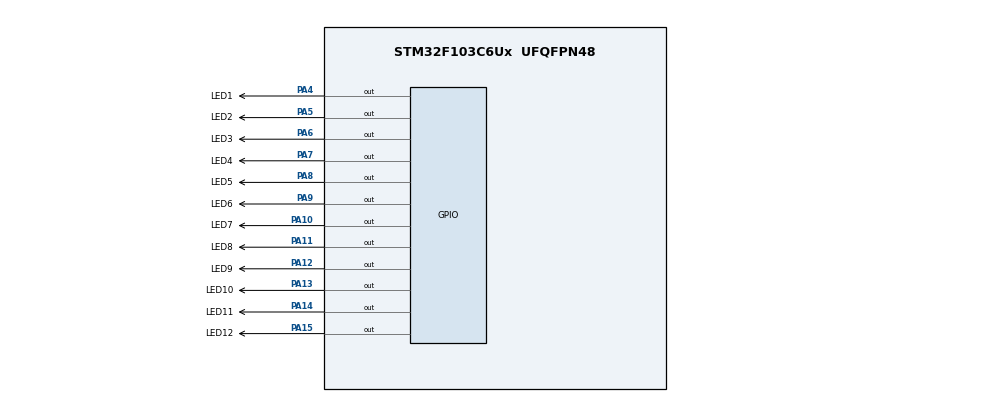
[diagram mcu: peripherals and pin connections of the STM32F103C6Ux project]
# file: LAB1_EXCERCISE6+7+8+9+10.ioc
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Mcu.Family=STM32F1
Mcu.Name=STM32F103C6Ux
Mcu.Package=UFQFPN48
NVIC.PriorityGroup=NVIC_PRIORITYGROUP_4
PA10.GPIO_Label=LED7
PA10.Signal=GPIO_Output
PA11.GPIO_Label=LED8
PA11.Signal=GPIO_Output
PA12.GPIO_Label=LED9
PA12.Signal=GPIO_Output
PA13.GPIO_Label=LED10
PA13.Signal=GPIO_Output
PA14.GPIO_Label=LED11
PA14.Signal=GPIO_Output
PA15.GPIO_Label=LED12
PA15.Signal=GPIO_Output
PA4.GPIO_Label=LED1
PA4.Signal=GPIO_Output
PA5.GPIO_Label=LED2
PA5.Signal=GPIO_Output
PA6.GPIO_Label=LED3
PA6.Signal=GPIO_Output
PA7.GPIO_Label=LED4
PA7.Signal=GPIO_Output
PA8.GPIO_Label=LED5
PA8.Signal=GPIO_Output
PA9.GPIO_Label=LED6
PA9.Signal=GPIO_Output
ProjectManager.HeapSize=0x200
ProjectManager.StackSize=0x400
ProjectManager.TargetToolchain=STM32CubeIDE
RCC.APB1Freq_Value=8000000
RCC.APB2Freq_Value=8000000
VP_SYS_VS_ND.Mode=No_Debug
board=custom

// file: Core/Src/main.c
/* USER CODE BEGIN Header */
/**
  ******************************************************************************
  * @file           : main.c
  * @brief          : Main program body
  ******************************************************************************
  * @attention
  *
  * <h2><center>&copy; Copyright (c) 2025 STMicroelectronics.
  * All rights reserved.</center></h2>
  *
  * This software component is licensed by ST under BSD 3-Clause license,
  * the "License"; You may not use this file except in compliance with the
  * License. You may obtain a copy of the License at:
  *                        opensource.org/licenses/BSD-3-Clause
  *
  ******************************************************************************
  */
/* USER CODE END Header */
#include "main.h"

void SystemClock_Config(void);
static void MX_GPIO_Init(void);

int main(void)
{

  /* MCU Configuration--------------------------------------------------------*/

  /* Reset of all peripherals, Initializes the Flash interface and the Systick. */
  HAL_Init();

  /* Configure the system clock */
  SystemClock_Config();

  /* Initialize all configured peripherals */
  MX_GPIO_Init();

  /* Infinite loop */
  /* USER CODE BEGIN WHILE */

  uint16_t 	LEDPIN[12] = {LED12_Pin, LED1_Pin,LED2_Pin,LED3_Pin,LED4_Pin ,LED5_Pin,LED6_Pin,LED7_Pin,LED8_Pin
          ,LED9_Pin,LED10_Pin,LED11_Pin};

  void TURN_ON_ALL(){
	  for (int j=0; j<12; ++j){
		  HAL_GPIO_WritePin(GPIOA, LEDPIN[j], GPIO_PIN_RESET);
	  }
  };
  void TURN_OFF_ALL(){
	  for (int j=0; j<12; ++j){
		  HAL_GPIO_WritePin(GPIOA, LEDPIN[j], GPIO_PIN_SET);
	  }
  };
  void LED_ON(int i){
	  HAL_GPIO_WritePin(GPIOA, LEDPIN[i], GPIO_PIN_RESET);
  }

  // EXCERCISE 6
  int counter_for_test = 0;
  void test_LED(int i){
	  TURN_OFF_ALL();
	  if (i>=12) i-=12;
	  LED_ON(i);
  }

  // EXCERCISE 7
  void clearAllclock(){
	  for (int j=0; j<12; ++j){
		  HAL_GPIO_WritePin(GPIOA, LEDPIN[j], GPIO_PIN_SET);
	  }
  }
  // EXCERCISE 8
  void setNumberOnClock(int num){
	  HAL_GPIO_WritePin(GPIOA, LEDPIN[num], GPIO_PIN_RESET);
  }
  // EXCERCISE 9
  void clearNumberOnClock(int num){
	  HAL_GPIO_WritePin(GPIOA, LEDPIN[num], GPIO_PIN_SET);
  }

  //EXCERCISE 10
  int second_display = 0;
  int minute_display = 0;
  int hour_display = 0;
  void second(int i){
	  int x=i/5; // Mỗi 5s kim giây di chuyển 1 lần
	  LED_ON(x);
  }
  void minute(int i){
	  int x=i/300; // Mỗi 5p kim phút di chuyển 1 lần
	  LED_ON(x);
  }
  void hour(int i){
	  LED_ON(i);
  }
  void tang_counter(){
	  TURN_OFF_ALL();

	  if (second_display >= 60) second_display -=60;
	  second(second_display);
	  second_display++;

	  if (minute_display >= 3600) {
		  minute_display -=3600; // khi kim phút đi được 1 vòng thì kim giờ di chuyển 1 lần
		  hour_display++;
	  }
	  minute(minute_display);
	  minute_display++;

	  if (hour_display >= 12) hour_display -=12;
	  hour(hour_display);
  }

  while (1)
  {

//	  EXERCISE 6
//	  if (counter_for_test >= 12) counter_for_test-=12;
//	  test_LED(counter_for_test);
//	  counter_for_test++;
//	  HAL_Delay(1000);

//    EXCERCISE 10
	  tang_counter();
	  HAL_Delay(1000);

    /* USER CODE END WHILE */

  }
}

void SystemClock_Config(void)
{
  RCC_OscInitTypeDef RCC_OscInitStruct = {0};
  RCC_ClkInitTypeDef RCC_ClkInitStruct = {0};

  /** Initializes the RCC Oscillators according to the specified parameters
  * in the RCC_OscInitTypeDef structure.
  */
  RCC_OscInitStruct.OscillatorType = RCC_OSCILLATORTYPE_HSI;
  RCC_OscInitStruct.HSIState = RCC_HSI_ON;
  RCC_OscInitStruct.HSICalibrationValue = RCC_HSICALIBRATION_DEFAULT;
  RCC_OscInitStruct.PLL.PLLState = RCC_PLL_NONE;
  if (HAL_RCC_OscConfig(&RCC_OscInitStruct) != HAL_OK)
  {
    Error_Handler();
  }
  /** Initializes the CPU, AHB and APB buses clocks
  */
  RCC_ClkInitStruct.ClockType = RCC_CLOCKTYPE_HCLK|RCC_CLOCKTYPE_SYSCLK
                              |RCC_CLOCKTYPE_PCLK1|RCC_CLOCKTYPE_PCLK2;
  RCC_ClkInitStruct.SYSCLKSource = RCC_SYSCLKSOURCE_HSI;
  RCC_ClkInitStruct.AHBCLKDivider = RCC_SYSCLK_DIV1;
  RCC_ClkInitStruct.APB1CLKDivider = RCC_HCLK_DIV1;
  RCC_ClkInitStruct.APB2CLKDivider = RCC_HCLK_DIV1;

  if (HAL_RCC_ClockConfig(&RCC_ClkInitStruct, FLASH_LATENCY_0) != HAL_OK)
  {
    Error_Handler();
  }
}

static void MX_GPIO_Init(void)
{
  GPIO_InitTypeDef GPIO_InitStruct = {0};

  /* GPIO Ports Clock Enable */
  __HAL_RCC_GPIOA_CLK_ENABLE();

  /*Configure GPIO pin Output Level */
  HAL_GPIO_WritePin(GPIOA, LED1_Pin|LED2_Pin|LED3_Pin|LED4_Pin
                          |LED5_Pin|LED6_Pin|LED7_Pin|LED8_Pin
                          |LED9_Pin|LED10_Pin|LED11_Pin|LED12_Pin, GPIO_PIN_RESET);

  /*Configure GPIO pins : LED1_Pin LED2_Pin LED3_Pin LED4_Pin
                           LED5_Pin LED6_Pin LED7_Pin LED8_Pin
                           LED9_Pin LED10_Pin LED11_Pin LED12_Pin */
  GPIO_InitStruct.Pin = LED1_Pin|LED2_Pin|LED3_Pin|LED4_Pin
                          |LED5_Pin|LED6_Pin|LED7_Pin|LED8_Pin
                          |LED9_Pin|LED10_Pin|LED11_Pin|LED12_Pin;
  GPIO_InitStruct.Mode = GPIO_MODE_OUTPUT_PP;
  GPIO_InitStruct.Pull = GPIO_NOPULL;
  GPIO_InitStruct.Speed = GPIO_SPEED_FREQ_LOW;
  HAL_GPIO_Init(GPIOA, &GPIO_InitStruct);

}

void Error_Handler(void)
{
  __disable_irq();
  while (1)
  {
  }
}

/************************ (C) COPYRIGHT STMicroelectronics *****END OF FILE****/
